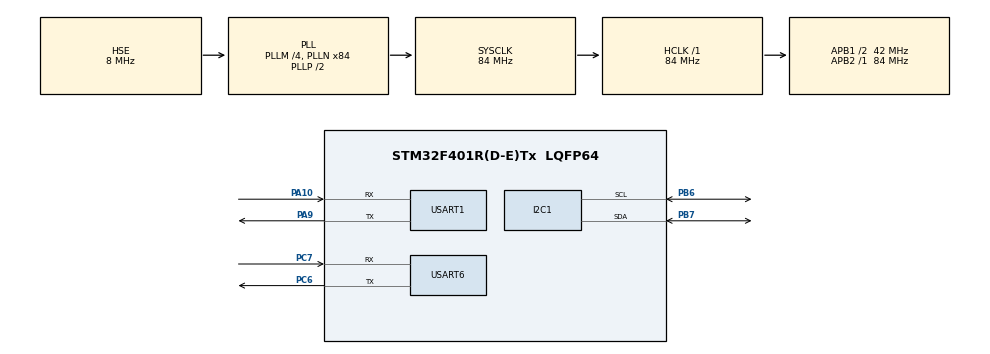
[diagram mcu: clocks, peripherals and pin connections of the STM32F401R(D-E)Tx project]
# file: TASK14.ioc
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Mcu.Family=STM32F4
Mcu.Name=STM32F401R(D-E)Tx
Mcu.Package=LQFP64
NVIC.PriorityGroup=NVIC_PRIORITYGROUP_4
NVIC.USART1_IRQn=true\:0\:0\:false\:false\:true\:true\:true\:true
PA10.Mode=Asynchronous
PA10.Signal=USART1_RX
PA13.Mode=Serial_Wire
PA13.Signal=SYS_JTMS-SWDIO
PA14.Mode=Serial_Wire
PA14.Signal=SYS_JTCK-SWCLK
PA9.Mode=Asynchronous
PA9.Signal=USART1_TX
PB6.Mode=I2C
PB6.Signal=I2C1_SCL
PB7.Mode=I2C
PB7.Signal=I2C1_SDA
PC6.Mode=Asynchronous
PC6.Signal=USART6_TX
PC7.Mode=Asynchronous
PC7.Signal=USART6_RX
PH0\ -\ OSC_IN.Mode=HSE-External-Clock-Source
PH0\ -\ OSC_IN.Signal=RCC_OSC_IN
PH1\ -\ OSC_OUT.Mode=HSE-External-Clock-Source
PH1\ -\ OSC_OUT.Signal=RCC_OSC_OUT
ProjectManager.HeapSize=0x200
ProjectManager.StackSize=0x400
ProjectManager.TargetToolchain=STM32CubeIDE
RCC.48MHZClocksFreq_Value=42000000
RCC.AHBFreq_Value=84000000
RCC.APB1CLKDivider=RCC_HCLK_DIV2
RCC.APB1Freq_Value=42000000
RCC.APB1TimFreq_Value=84000000
RCC.APB2Freq_Value=84000000
RCC.APB2TimFreq_Value=84000000
RCC.CortexFreq_Value=84000000
RCC.HCLKFreq_Value=84000000
RCC.HSE_VALUE=8000000
RCC.HSI_VALUE=16000000
RCC.LSE_VALUE=32768
RCC.PLLM=4
RCC.PLLN=84
RCC.PLLSourceVirtual=RCC_PLLSOURCE_HSE
RCC.SYSCLKFreq_VALUE=84000000
RCC.SYSCLKSource=RCC_SYSCLKSOURCE_PLLCLK
RCC.VCOOutputFreq_Value=168000000
USART1.VirtualMode=VM_ASYNC
USART6.VirtualMode=VM_ASYNC
board=custom

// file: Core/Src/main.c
/* USER CODE BEGIN Header */
/**
  ******************************************************************************
  * @file           : main.c
  * @brief          : Main program body
  ******************************************************************************
  * @attention
  *
  * Copyright (c) 2026 STMicroelectronics.
  * All rights reserved.
  *
  * This software is licensed under terms that can be found in the LICENSE file
  * in the root directory of this software component.
  * If no LICENSE file comes with this software, it is provided AS-IS.
  *
  ******************************************************************************
  */
/* USER CODE END Header */
#include "main.h"

/* USER CODE BEGIN Includes */
#include "ESPLib.h"
#include "bme280.h"
struct bme280_dev dev;
struct bme280_settings settings;
struct bme280_data comp_data;
int8_t rslt = BME280_OK;
static uint8_t dev_addr = BME280_I2C_ADDR_PRIM;

float temperature, pressure, humidity;
/* USER CODE END Includes */

I2C_HandleTypeDef hi2c1;

UART_HandleTypeDef huart1;
UART_HandleTypeDef huart6;

void SystemClock_Config(void);
static void MX_GPIO_Init(void);
static void MX_I2C1_Init(void);
static void MX_USART1_UART_Init(void);
static void MX_USART6_UART_Init(void);
/* USER CODE BEGIN PFP */
int8_t user_i2c_read(uint8_t reg_addr, uint8_t *reg_data, uint32_t len, void *intf_ptr);
int8_t user_i2c_write(uint8_t reg_addr, const uint8_t *reg_data, uint32_t len, void *intf_ptr);
void user_delay_us(uint32_t period, void *intf_ptr);
/* USER CODE END PFP */

int main(void)
{

  /* MCU Configuration--------------------------------------------------------*/

  /* Reset of all peripherals, Initializes the Flash interface and the Systick. */
  HAL_Init();

  /* Configure the system clock */
  SystemClock_Config();

  /* Initialize all configured peripherals */
  MX_GPIO_Init();
  MX_I2C1_Init();
  MX_USART1_UART_Init();
  MX_USART6_UART_Init();
  /* USER CODE BEGIN 2 */

  //MQTT
  ESP8266_Init(StationMode, huart1);
  ESP8266_wifiConnect("SNUC", "snu12345");
  ESP8266_portConnect("TCP", "broker.emqx.io", "1883");

  MQTT_InitTypeDef_t mqttSetting;
  mqttSetting.keepAlive = 500;
  mqttSetting.connectFlag = CleanSession;
  mqttSetting.clientID = "STM32_Publisher_vishalbala";
  MQTT_connectBroker(&mqttSetting);

  //BME280
  dev.intf_ptr = &dev_addr;
  dev.intf     = BME280_I2C_INTF;
  dev.read     = user_i2c_read;
  dev.write    = user_i2c_write;
  dev.delay_us = user_delay_us;

  rslt = bme280_init(&dev);
  if (rslt != BME280_OK) Error_Handler();

  rslt = bme280_get_sensor_settings(&settings, &dev);
  settings.osr_h        = BME280_OVERSAMPLING_2X;
  settings.osr_p        = BME280_OVERSAMPLING_2X;
  settings.osr_t        = BME280_OVERSAMPLING_2X;
  settings.filter       = BME280_FILTER_COEFF_OFF;

  rslt = bme280_set_sensor_settings(BME280_SEL_ALL_SETTINGS, &settings, &dev);
  if (rslt != BME280_OK) Error_Handler();

  rslt = bme280_set_sensor_mode(BME280_POWERMODE_NORMAL, &dev);
  if (rslt != BME280_OK) Error_Handler();

  /* USER CODE END 2 */

  /* Infinite loop */
  while (1)
  {

    /* USER CODE BEGIN 3 */
	  /*MQTT_publishTopic("mytopic", "hi titus", QoS0);*/
		rslt = bme280_get_sensor_data(BME280_ALL, &comp_data, &dev);
	    if (rslt == BME280_OK)
	    {
	      temperature = comp_data.temperature;        // deg C
	      pressure    = comp_data.pressure / 100.0f;  // Pa -> hPa
	      humidity    = comp_data.humidity;          // % RH
	      char buf[128];
	      snprintf(buf, sizeof buf, "{\"t\":%.1f,\"p\":%.1f,\"h\":%.1f}", temperature, pressure, humidity);
	      MQTT_publishTopic("stm32/bme280", buf, QoS0);
	    }
	  HAL_Delay(1000);

  }

  /* USER CODE END 3 */
}

void SystemClock_Config(void)
{
  RCC_OscInitTypeDef RCC_OscInitStruct = {0};
  RCC_ClkInitTypeDef RCC_ClkInitStruct = {0};

  /** Configure the main internal regulator output voltage
  */
  __HAL_RCC_PWR_CLK_ENABLE();
  __HAL_PWR_VOLTAGESCALING_CONFIG(PWR_REGULATOR_VOLTAGE_SCALE2);

  /** Initializes the RCC Oscillators according to the specified parameters
  * in the RCC_OscInitTypeDef structure.
  */
  RCC_OscInitStruct.OscillatorType = RCC_OSCILLATORTYPE_HSE;
  RCC_OscInitStruct.HSEState = RCC_HSE_BYPASS;
  RCC_OscInitStruct.PLL.PLLState = RCC_PLL_ON;
  RCC_OscInitStruct.PLL.PLLSource = RCC_PLLSOURCE_HSE;
  RCC_OscInitStruct.PLL.PLLM = 4;
  RCC_OscInitStruct.PLL.PLLN = 84;
  RCC_OscInitStruct.PLL.PLLP = RCC_PLLP_DIV2;
  RCC_OscInitStruct.PLL.PLLQ = 4;
  if (HAL_RCC_OscConfig(&RCC_OscInitStruct) != HAL_OK)
  {
    Error_Handler();
  }

  /** Initializes the CPU, AHB and APB buses clocks
  */
  RCC_ClkInitStruct.ClockType = RCC_CLOCKTYPE_HCLK|RCC_CLOCKTYPE_SYSCLK
                              |RCC_CLOCKTYPE_PCLK1|RCC_CLOCKTYPE_PCLK2;
  RCC_ClkInitStruct.SYSCLKSource = RCC_SYSCLKSOURCE_PLLCLK;
  RCC_ClkInitStruct.AHBCLKDivider = RCC_SYSCLK_DIV1;
  RCC_ClkInitStruct.APB1CLKDivider = RCC_HCLK_DIV2;
  RCC_ClkInitStruct.APB2CLKDivider = RCC_HCLK_DIV1;

  if (HAL_RCC_ClockConfig(&RCC_ClkInitStruct, FLASH_LATENCY_2) != HAL_OK)
  {
    Error_Handler();
  }
}

static void MX_I2C1_Init(void)
{

  hi2c1.Instance = I2C1;
  hi2c1.Init.ClockSpeed = 100000;
  hi2c1.Init.DutyCycle = I2C_DUTYCYCLE_2;
  hi2c1.Init.OwnAddress1 = 0;
  hi2c1.Init.AddressingMode = I2C_ADDRESSINGMODE_7BIT;
  hi2c1.Init.DualAddressMode = I2C_DUALADDRESS_DISABLE;
  hi2c1.Init.OwnAddress2 = 0;
  hi2c1.Init.GeneralCallMode = I2C_GENERALCALL_DISABLE;
  hi2c1.Init.NoStretchMode = I2C_NOSTRETCH_DISABLE;
  if (HAL_I2C_Init(&hi2c1) != HAL_OK)
  {
    Error_Handler();
  }

}

static void MX_USART1_UART_Init(void)
{

  huart1.Instance = USART1;
  huart1.Init.BaudRate = 115200;
  huart1.Init.WordLength = UART_WORDLENGTH_8B;
  huart1.Init.StopBits = UART_STOPBITS_1;
  huart1.Init.Parity = UART_PARITY_NONE;
  huart1.Init.Mode = UART_MODE_TX_RX;
  huart1.Init.HwFlowCtl = UART_HWCONTROL_NONE;
  huart1.Init.OverSampling = UART_OVERSAMPLING_16;
  if (HAL_UART_Init(&huart1) != HAL_OK)
  {
    Error_Handler();
  }

}

static void MX_USART6_UART_Init(void)
{

  huart6.Instance = USART6;
  huart6.Init.BaudRate = 115200;
  huart6.Init.WordLength = UART_WORDLENGTH_8B;
  huart6.Init.StopBits = UART_STOPBITS_1;
  huart6.Init.Parity = UART_PARITY_NONE;
  huart6.Init.Mode = UART_MODE_TX_RX;
  huart6.Init.HwFlowCtl = UART_HWCONTROL_NONE;
  huart6.Init.OverSampling = UART_OVERSAMPLING_16;
  if (HAL_UART_Init(&huart6) != HAL_OK)
  {
    Error_Handler();
  }

}

static void MX_GPIO_Init(void)
{

  /* GPIO Ports Clock Enable */
  __HAL_RCC_GPIOH_CLK_ENABLE();
  __HAL_RCC_GPIOC_CLK_ENABLE();
  __HAL_RCC_GPIOA_CLK_ENABLE();
  __HAL_RCC_GPIOB_CLK_ENABLE();

}

/* USER CODE BEGIN 4 */
int8_t user_i2c_read(uint8_t reg_addr, uint8_t *reg_data, uint32_t len, void *intf_ptr)
{
  uint8_t addr = *(uint8_t *)intf_ptr;
  // HAL expects the 7-bit address shifted left by 1
  if (HAL_I2C_Mem_Read(&hi2c1, (uint16_t)(addr << 1), reg_addr, I2C_MEMADD_SIZE_8BIT,
                       reg_data, (uint16_t)len, HAL_MAX_DELAY) == HAL_OK)
  {
    return BME280_OK;
  }
  return BME280_E_COMM_FAIL;
}

int8_t user_i2c_write(uint8_t reg_addr, const uint8_t *reg_data, uint32_t len, void *intf_ptr)
{
  uint8_t addr = *(uint8_t *)intf_ptr;
  if (HAL_I2C_Mem_Write(&hi2c1, (uint16_t)(addr << 1), reg_addr, I2C_MEMADD_SIZE_8BIT,
                        (uint8_t *)reg_data, (uint16_t)len, HAL_MAX_DELAY) == HAL_OK)
  {
    return BME280_OK;
  }
  return BME280_E_COMM_FAIL;
}

void user_delay_us(uint32_t period, void *intf_ptr)
{
  // HAL only has a millisecond delay, so round microseconds up to the next ms
  (void)intf_ptr;
  HAL_Delay((period / 1000) + 1);
}
/* USER CODE END 4 */

void Error_Handler(void)
{
  __disable_irq();
  while (1)
  {
  }
}
